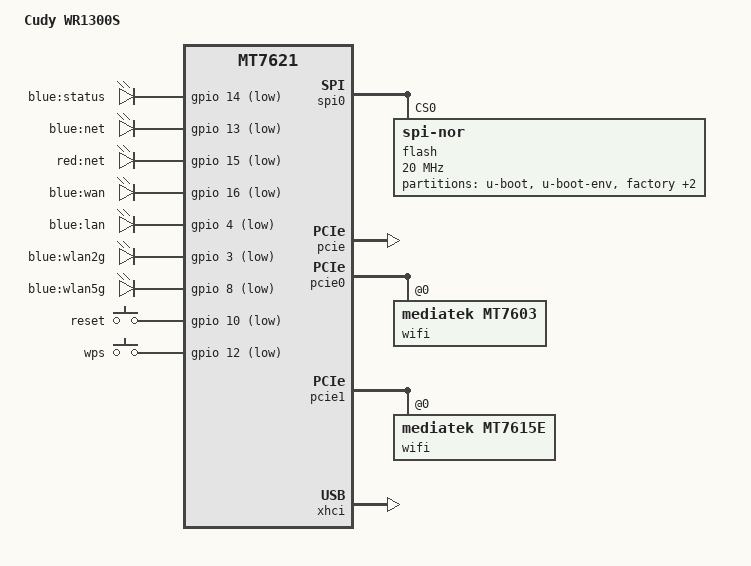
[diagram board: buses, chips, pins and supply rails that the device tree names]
/dts-v1/;

#include "mt7621.dtsi"
#include <dt-bindings/gpio/gpio.h>
#include <dt-bindings/input/input.h>

/ {
	compatible = "cudy,wr1300s", "mediatek,mt7621-soc";
	model = "Cudy WR1300S";

	aliases {
		led-boot = &led_status;
		led-failsafe = &led_status;
		led-running = &led_status;
		led-upgrade = &led_status;
		label-mac-device = &gmac0;
	};

	leds {
		compatible = "gpio-leds";

		led_status: status {
			label = "blue:status";
			gpios = <&gpio 14 GPIO_ACTIVE_LOW>;
		};

		net_blue {
			label = "blue:net";
			gpios = <&gpio 13 GPIO_ACTIVE_LOW>;
		};

		net_red {
			label = "red:net";
			gpios = <&gpio 15 GPIO_ACTIVE_LOW>;
		};

		wan {
			label = "blue:wan";
			gpios = <&gpio 16 GPIO_ACTIVE_LOW>;
			linux,default-trigger = "netdev";
		};

		lan {
			label = "blue:lan";
			gpios = <&gpio 4 GPIO_ACTIVE_LOW>;
		};

		wlan2g {
			label = "blue:wlan2g";
			gpios = <&gpio 3 GPIO_ACTIVE_LOW>;
			linux,default-trigger = "phy0tpt";
		};

		wlan5g {
			label = "blue:wlan5g";
			gpios = <&gpio 8 GPIO_ACTIVE_LOW>;
			linux,default-trigger = "phy1tpt";
		};
	};

	keys {
		compatible = "gpio-keys";

		reset {
			label = "reset";
			gpios = <&gpio 10 GPIO_ACTIVE_LOW>;
			linux,code = <KEY_RESTART>;
		};

		wps {
			label = "wps";
			gpios = <&gpio 12 GPIO_ACTIVE_LOW>;
			linux,code = <KEY_WPS_BUTTON>;
		};
	};
};

&reg_vbus {
	gpios = <&gpio 7 GPIO_ACTIVE_HIGH>;
};

&state_default {
	gpio {
		groups = "uart2", "uart3", "jtag", "wdt";
		function = "gpio";
	};
};

&spi0 {
	status = "okay";

	flash@0 {
		compatible = "jedec,spi-nor";
		reg = <0>;
		spi-max-frequency = <20000000>;

		partitions {
			compatible = "fixed-partitions";
			#address-cells = <1>;
			#size-cells = <1>;

			partition@0 {
				label = "u-boot";
				reg = <0x000000 0x030000>;
				read-only;
			};

			partition@30000 {
				label = "u-boot-env";
				reg = <0x030000 0x010000>;
				read-only;
			};

			factory: partition@40000 {
				label = "factory";
				reg = <0x040000 0x010000>;
				read-only;
				compatible = "nvmem-cells";
				#address-cells = <1>;
				#size-cells = <1>;

				eeprom_factory_0: eeprom@0 {
					reg = <0x0000 0x400>;
				};

				eeprom_factory_8000: eeprom@8000 {
					reg = <0x8000 0x400>;
				};
			};

			partition@50000 {
				compatible = "denx,uimage";
				label = "firmware";
				reg = <0x050000 0xfa0000>;
			};

			bdinfo: partition@ff0000 {
				label = "bdinfo";
				reg = <0xff0000 0x010000>;
				read-only;
				compatible = "nvmem-cells";
				#address-cells = <1>;
				#size-cells = <1>;

				macaddr_bdinfo_de00: macaddr@de00 {
					reg = <0xde00 0x6>;
				};
			};
		};
	};
};

&pcie {
	status = "okay";
};

&pcie0 {
	status = "okay";

	wifi@0,0 {
		compatible = "mediatek,mt7603";
		reg = <0x0000 0 0 0 0>;
		nvmem-cells = <&eeprom_factory_0>, <&macaddr_bdinfo_de00>;
		nvmem-cell-names = "eeprom", "mac-address";
	};
};

&pcie1 {
	status = "okay";

	wifi@0,0 {
		compatible = "mediatek,mt7615e";
		reg = <0x0000 0 0 0 0>;
		nvmem-cells = <&eeprom_factory_8000>, <&macaddr_bdinfo_de00>;
		nvmem-cell-names = "eeprom", "mac-address";
		mac-address-increment = <1>;
	};
};

&gmac0 {
	nvmem-cells = <&macaddr_bdinfo_de00>;
	nvmem-cell-names = "mac-address";
};

&switch0 {
	ports {
		port@0 {
			status = "okay";
			label = "wan";
		};

		port@1 {
			status = "okay";
			label = "lan1";
		};

		port@2 {
			status = "okay";
			label = "lan2";
		};

		port@3 {
			status = "okay";
			label = "lan3";
		};

		port@4 {
			status = "okay";
			label = "lan4";
		};
	};
};

&xhci {
	status = "okay";
};

